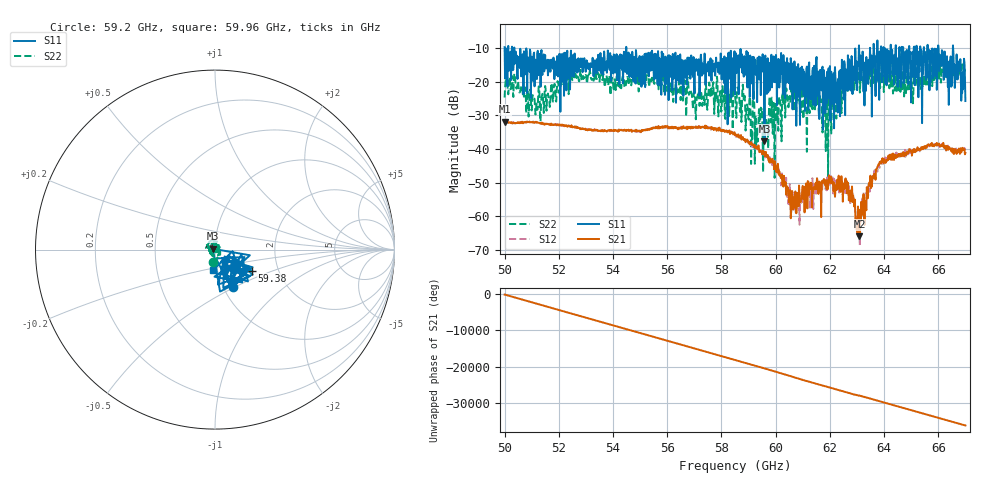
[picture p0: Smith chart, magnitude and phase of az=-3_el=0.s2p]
!Created with skrf (http://scikit-rf.org).
# GHz S RI R 50.0
!freq ReS11 ImS11 ReS21 ImS21 ReS12 ImS12 ReS22 ImS22
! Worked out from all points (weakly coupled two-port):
!   1001 points, 50 GHz to 67 GHz, reference 50 ohm
!   highest |S21| = -31.84 dB at 50 GHz (marker M1); lowest = -65.9 dB at 63.09 GHz (marker M2)
!   lowest |S11| = -37.7 dB at 59.59 GHz (marker M3), VSWR 1.03, Z = 48.8 + j0.45 ohm
!   |S11| at or under -10 dB: 50.36 GHz to 54.49 GHz (4.129 GHz wide, 7.88 % of centre); 54.49 GHz to 63.07 GHz (8.581 GHz wide, 14.6 % of centre); 66.01 GHz to 66.54 GHz (532.1 MHz wide, 0.803 % of centre) (the widest 3 of 25)
!   |S22| runs from -48.6 to -13.9 dB; largest |S21 - S12| = 0.0027
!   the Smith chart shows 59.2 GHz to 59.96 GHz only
!   S11 on the Smith chart (normalised r, x): 59.2 GHz: 1.11, -0.49; 59.38 GHz: 1.46, -0.37; 59.96 GHz: 0.95, -0.22
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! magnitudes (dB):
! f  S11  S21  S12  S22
! 50 GHz  -9.7  -31.8  -31.8  -24.7
! 50.42 GHz  -13.5  -32.3  -32.2  -21.9
! 51.38 GHz  -16.5  -32.1  -32.2  -24.2
! 52.84 GHz  -14.1  -34.1  -34.0  -19.3
! 55.68 GHz  -13.4  -33.2  -33.3  -22.3
! 57 GHz  -23.4  -33.6  -33.4  -21.5
! 58.5 GHz  -23.8  -35.9  -35.8  -24.1
! 59.2 GHz  -12.7  -39.3  -39.0  -23.0
! 59.38 GHz  -12.5  -39.9  -40.3  -28.2
! 59.59 GHz  -37.7  -40.9  -41.7  -29.7
! 59.84 GHz  -12.0  -43.8  -43.5  -24.8
! 59.96 GHz  -18.7  -43.6  -44.6  -48.6
! 60.73 GHz  -19.5  -52.6  -58.0  -21.2
! 61.34 GHz  -25.0  -57.3  -51.2  -25.4
! 62 GHz  -15.4  -48.5  -50.6  -25.2
! 62.63 GHz  -18.0  -53.2  -50.4  -22.7
! 63.09 GHz  -12.3  -65.9  -64.9  -19.3
! 63.65 GHz  -15.3  -47.6  -46.3  -20.1
! 64.18 GHz  -17.7  -42.7  -42.2  -18.4
! 66.08 GHz  -14.7  -38.9  -38.5  -15.7
! 66.75 GHz  -16.7  -40.9  -40.7  -18.3
! 67 GHz  -25.7  -41.2  -40.5  -15.7
